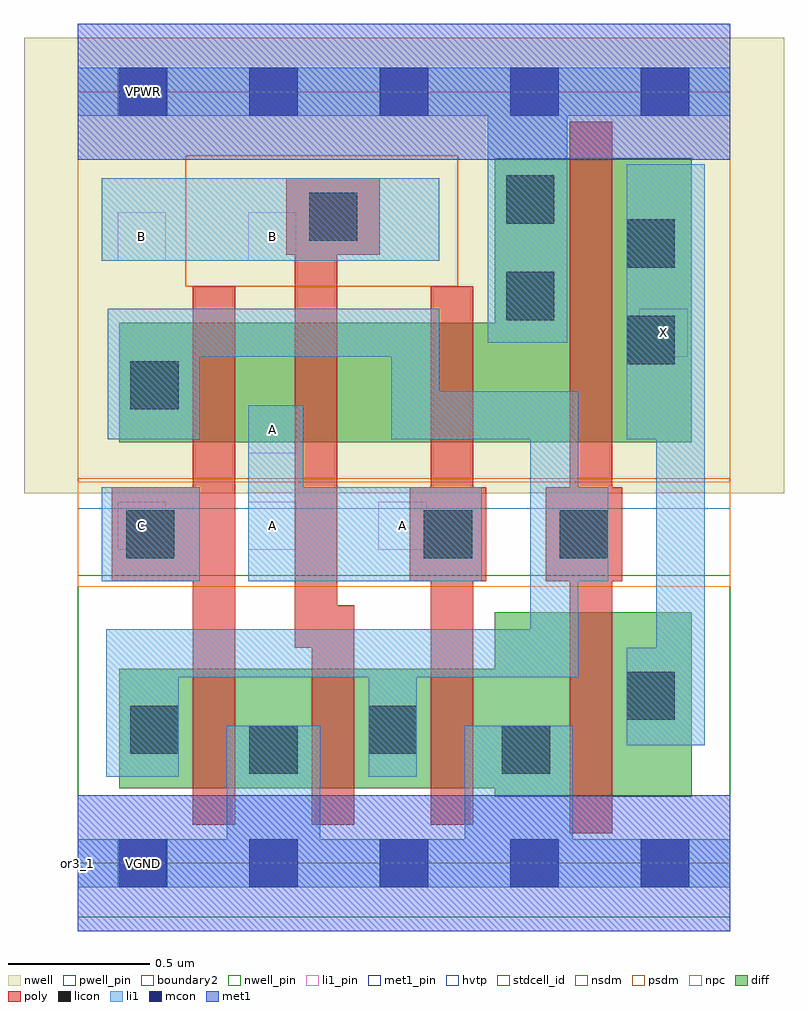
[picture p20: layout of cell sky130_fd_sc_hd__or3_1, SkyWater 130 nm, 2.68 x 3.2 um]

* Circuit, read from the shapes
.subckt sky130_fd_sc_hd__or3_1 A B C VGND VNB VPB VPWR X
XM1 VGND C n1 VNB sky130_fd_pr__nfet_01v8 w=0.42 l=0.15
XM2 n1 B VGND VNB sky130_fd_pr__nfet_01v8 w=0.42 l=0.15
XM3 VGND A n1 VNB sky130_fd_pr__nfet_01v8 w=0.42 l=0.15
XM4 X n1 VGND VNB sky130_fd_pr__nfet_01v8 w=0.65 l=0.15
XM5 n2 C n1 VPB sky130_fd_pr__pfet_01v8_hvt w=0.42 l=0.15
XM6 n3 B n2 VPB sky130_fd_pr__pfet_01v8_hvt w=0.42 l=0.15
XM7 VPWR A n3 VPB sky130_fd_pr__pfet_01v8_hvt w=0.42 l=0.15
XM8 X n1 VPWR VPB sky130_fd_pr__pfet_01v8_hvt w=1 l=0.15
.ends

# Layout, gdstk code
import gdstk
lib = gdstk.Library(unit=1e-6, precision=1e-09)
def R(c, l, rs):  # rectangles x0, y0, x1, y1
    for r in rs: c.add(gdstk.rectangle(r[:2], r[2:], *l))
def A(c, l, x, y, w, h, nx, ny, dx, dy):  # array of equal rectangles
    R(c, l, [(x+i*dx, y+j*dy, x+i*dx+w, y+j*dy+h) for i in range(nx) for j in range(ny)])
def P(c, l, *ps):  # polygons
    for p in ps: c.add(gdstk.Polygon(p, *l))
nwell_pin = (64, 16)
nwell = (64, 20)
diff = (65, 20)
poly = (66, 20)
licon = (66, 44)
li1_pin = (67, 16)
li1 = (67, 20)
mcon = (67, 44)
met1_pin = (68, 16)
met1 = (68, 20)
hvtp = (78, 44)
stdcell_id = (81, 4)
nsdm = (93, 44)
psdm = (94, 20)
npc = (95, 20)
pwell_pin = (122, 16)
boundary2 = (236, 0)

sky130_fd_sc_hd__or3_1 = lib.new_cell('sky130_fd_sc_hd__or3_1')
R(sky130_fd_sc_hd__or3_1, nwell_pin, [(0.14,2.635,0.31,2.805)])
R(sky130_fd_sc_hd__or3_1, nwell, [(-0.19,1.305,2.49,2.91)])
P(sky130_fd_sc_hd__or3_1, diff, [(2.165,0.885),(1.47,0.885),(1.47,0.685),(0.145,0.685),(0.145,0.265),(1.47,0.265),(1.47,0.235),(2.165,0.235)],
  [(2.165,2.485),(1.47,2.485),(1.47,1.905),(0.145,1.905),(0.145,1.485),(2.165,1.485)])
P(sky130_fd_sc_hd__or3_1, poly, [(1.92,1.325),(1.885,1.325),(1.885,2.615),(1.735,2.615),(1.735,1.325),(1.65,1.325),(1.65,0.995),(1.735,0.995),(1.735,0.105),(1.885,0.105),(1.885,0.995),(1.92,0.995)],
  [(1.44,1.325),(1.395,1.325),(1.395,2.035),(1.245,2.035),(1.245,1.325),(1.17,1.325),(1.17,0.995),(1.245,0.995),(1.245,0.135),(1.395,0.135),(1.395,0.995),(1.44,0.995)],
  [(1.065,2.415),(0.735,2.415),(0.735,2.145),(0.765,2.145),(0.765,0.76),(0.825,0.76),(0.825,0.135),(0.975,0.135),(0.975,0.91),(0.915,0.91),(0.915,2.145),(1.065,2.145)],
  [(0.555,2.035),(0.405,2.035),(0.405,1.325),(0.12,1.325),(0.12,0.995),(0.405,0.995),(0.405,0.135),(0.555,0.135)])
R(sky130_fd_sc_hd__or3_1, licon, [(0.605,0.315,0.775,0.485), (1.495,0.315,1.665,0.485), (0.185,0.385,0.355,0.555), (1.025,0.385,1.195,0.555), (1.935,0.505,2.105,0.675), (0.17,1.075,0.34,1.245), (1.22,1.075,1.39,1.245), (1.7,1.075,1.87,1.245), (0.185,1.6,0.355,1.77), (1.935,1.76,2.105,1.93), (1.51,1.915,1.68,2.085), (1.935,2.1,2.105,2.27), (0.815,2.195,0.985,2.365), (1.51,2.255,1.68,2.425)])
A(sky130_fd_sc_hd__or3_1, li1_pin, 0.14, 1.105, 0.17, 0.17, 3, 1, 0.46, 0)
R(sky130_fd_sc_hd__or3_1, li1_pin, [(0.6,1.445,0.77,1.615), (1.98,1.785,2.15,1.955), (0.14,2.125,0.31,2.295), (0.6,2.125,0.77,2.295)])
R(sky130_fd_sc_hd__or3_1, li1, [(0.085,0.995,0.43,1.325), (0.085,2.125,1.275,2.415)])
P(sky130_fd_sc_hd__or3_1, li1, [(2.3,0.085),(1.745,0.085),(1.745,0.485),(1.365,0.485),(1.365,0.085),(0.855,0.085),(0.855,0.485),(0.525,0.485),(0.525,0.085),(0,0.085),(0,-0.085),(2.3,-0.085)],
  [(2.3,2.805),(0,2.805),(0,2.635),(1.445,2.635),(1.445,1.835),(1.725,1.835),(1.725,2.635),(2.3,2.635)],
  [(2.21,2.465),(1.935,2.465),(1.935,1.495),(2.04,1.495),(2.04,0.76),(1.935,0.76),(1.935,0.415),(2.21,0.415)],
  [(1.87,1.325),(1.765,1.325),(1.765,1.665),(1.275,1.665),(1.275,1.955),(0.105,1.955),(0.105,1.495),(0.43,1.495),(0.43,1.785),(1.105,1.785),(1.105,1.495),(1.595,1.495),(1.595,0.825),(0.1,0.825),(0.1,0.305),(0.355,0.305),(0.355,0.655),(1.025,0.655),(1.025,0.305),(1.195,0.305),(1.195,0.655),(1.765,0.655),(1.765,0.995),(1.87,0.995)],
  [(1.425,1.325),(0.795,1.325),(0.795,1.615),(0.6,1.615),(0.6,0.995),(1.425,0.995)])
A(sky130_fd_sc_hd__or3_1, mcon, 0.145, -0.085, 0.17, 0.17, 5, 2, 0.46, 2.72)
R(sky130_fd_sc_hd__or3_1, met1_pin, [(0.14,-0.085,0.31,0.085), (0.14,2.635,0.31,2.805)])
R(sky130_fd_sc_hd__or3_1, hvtp, [(0,1.25,2.3,2.72)])
R(sky130_fd_sc_hd__or3_1, stdcell_id, [(0,0,2.3,2.72)])
R(sky130_fd_sc_hd__or3_1, nsdm, [(0,-0.19,2.3,1.015)])
P(sky130_fd_sc_hd__or3_1, psdm, [(2.3,2.91),(1.34,2.91),(1.34,2.035),(0.38,2.035),(0.38,2.495),(1.34,2.495),(1.34,2.91),(0,2.91),(0,1.355),(2.3,1.355)])
R(sky130_fd_sc_hd__or3_1, npc, [(0,0.975,2.3,1.345), (0.38,2.035,1.34,2.495)])
R(sky130_fd_sc_hd__or3_1, pwell_pin, [(0.14,-0.085,0.31,0.085)])
R(sky130_fd_sc_hd__or3_1, boundary2, [(0,0,2.3,2.72)])
sky130_fd_sc_hd__or3_1.add(gdstk.FlexPath([(0,2.72),(2.3,2.72)], 0.48, ends="flush", simple_path=True, layer=68, datatype=20))  # met1
sky130_fd_sc_hd__or3_1.add(gdstk.FlexPath([(0,0),(2.3,0)], 0.48, ends="flush", simple_path=True, layer=68, datatype=20))  # met1
sky130_fd_sc_hd__or3_1.add(gdstk.Label('A', (1.145,1.19), layer=67, texttype=5))
sky130_fd_sc_hd__or3_1.add(gdstk.Label('A', (0.685,1.19), layer=67, texttype=5))
sky130_fd_sc_hd__or3_1.add(gdstk.Label('X', (2.065,1.87), layer=67, texttype=5))
sky130_fd_sc_hd__or3_1.add(gdstk.Label('A', (0.685,1.53), layer=67, texttype=5))
sky130_fd_sc_hd__or3_1.add(gdstk.Label('B', (0.225,2.21), layer=67, texttype=5))
sky130_fd_sc_hd__or3_1.add(gdstk.Label('B', (0.685,2.21), layer=67, texttype=5))
sky130_fd_sc_hd__or3_1.add(gdstk.Label('C', (0.225,1.19), layer=67, texttype=5))
sky130_fd_sc_hd__or3_1.add(gdstk.Label('VPWR', (0.23,2.72), layer=68, texttype=5))
sky130_fd_sc_hd__or3_1.add(gdstk.Label('VGND', (0.23,0), layer=68, texttype=5))
sky130_fd_sc_hd__or3_1.add(gdstk.Label('VPB', (0.225,2.72), layer=64, texttype=5))
sky130_fd_sc_hd__or3_1.add(gdstk.Label('VNB', (0.23,0), layer=64, texttype=59))
sky130_fd_sc_hd__or3_1.add(gdstk.Label('or3_1', (0,0), layer=83, texttype=44))

lib.write_gds('sky130_fd_sc_hd__or3_1.gds')
